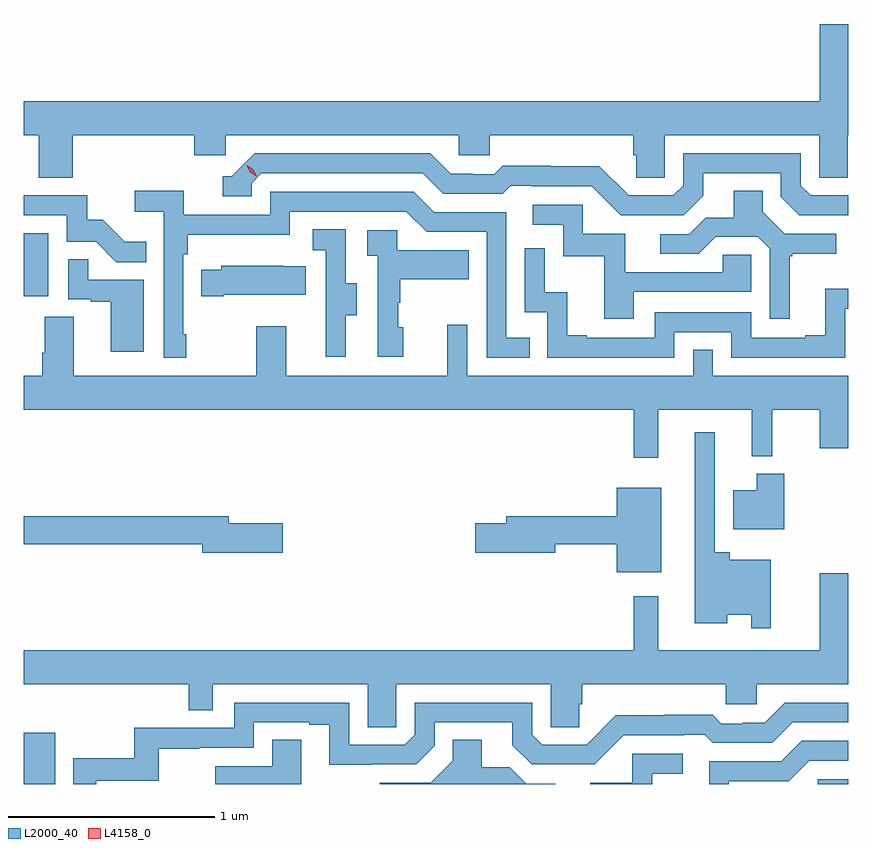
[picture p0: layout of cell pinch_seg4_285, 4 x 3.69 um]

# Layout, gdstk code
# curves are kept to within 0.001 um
import gdstk
lib = gdstk.Library(unit=1e-6, precision=1e-09)
def R(c, l, rs):  # rectangles x0, y0, x1, y1
    for r in rs: c.add(gdstk.rectangle(r[:2], r[2:], *l))
def P(c, l, *ps):  # polygons
    for p in ps: c.add(gdstk.Polygon(p, *l))
L2000_40 = (2000, 40)
L4158_0 = (4158, 0)

pinch_seg4_285 = lib.new_cell('pinch_seg4_285')
R(pinch_seg4_285, L2000_40, [(952.355,793.672,952.507,793.921), (956.208,793.672,956.355,793.695), (952.355,796.038,952.474,796.345)])
P(pinch_seg4_285, L2000_40, [(952.592,796.82),(953.183,796.82),(953.183,796.722),(953.334,796.722),(953.334,796.82),(954.465,796.82),(954.465,796.722),(954.615,796.722),(954.615,796.82),(955.313,796.82),(955.313,796.722),(955.327,796.722),(955.327,796.612),(955.464,796.612),(955.464,796.82),(956.214,796.82),(956.214,796.612),(956.353,796.612),(956.353,796.82),(956.355,796.82),(956.355,797.359),(956.216,797.359),(956.216,796.984),(952.355,796.984),(952.355,796.82),(952.427,796.82),(952.427,796.612),(952.592,796.612)],
  [(956.355,796.527),(956.172,796.527),(956.124,796.575),(956.124,796.731),(955.554,796.731),(955.554,796.575),(955.506,796.527),(955.29,796.527),(955.148,796.669),(954.912,796.669),(954.912,796.672),(954.679,796.672),(954.637,796.629),(954.534,796.629),(954.534,796.632),(954.427,796.632),(954.328,796.731),(953.475,796.731),(953.364,796.62),(953.321,796.62),(953.321,796.524),(953.46,796.524),(953.46,796.587),(953.508,796.635),(954.291,796.635),(954.39,796.536),(954.679,796.536),(954.718,796.575),(954.817,796.575),(954.817,796.572),(955.11,796.572),(955.251,796.431),(955.557,796.431),(955.651,796.525),(955.651,796.635),(956.028,796.635),(956.028,796.521),(956.118,796.431),(956.355,796.43)],
  [(953.143,795.853),(953.13,795.853),(953.13,796.241),(953.15,796.241),(953.15,796.337),(953.646,796.337),(953.646,796.449),(954.21,796.449),(954.309,796.35),(954.6,796.35),(954.6,795.741),(954.809,795.741),(954.809,795.837),(954.696,795.837),(954.696,796.446),(954.346,796.446),(954.247,796.545),(953.55,796.545),(953.55,796.434),(953.132,796.434),(953.132,796.55),(952.893,796.55),(952.893,796.448),(953.034,796.448),(953.034,795.741),(953.143,795.741)],
  [(956.071,796.233),(956.083,796.233),(956.083,796.244),(956.296,796.244),(956.296,796.341),(956.046,796.341),(955.939,796.448),(955.939,796.55),(955.799,796.55),(955.799,796.418),(955.664,796.418),(955.584,796.338),(955.443,796.338),(955.443,796.245),(955.63,796.245),(955.711,796.326),(955.917,796.326),(955.974,796.269),(955.974,795.93),(956.071,795.93)],
  [(952.949,796.303),(952.845,796.303),(952.738,796.41),(952.662,796.41),(952.662,796.527),(952.355,796.527),(952.355,796.431),(952.563,796.431),(952.563,796.302),(952.707,796.302),(952.805,796.204),(952.949,796.204)],
  [(955.315,796.059),(955.884,796.059),(955.884,796.239),(955.747,796.239),(955.747,796.155),(955.273,796.155),(955.273,796.341),(955.068,796.341),(955.068,796.482),(954.825,796.482),(954.825,796.386),(954.972,796.386),(954.972,796.233),(955.171,796.233),(955.171,795.93),(955.315,795.93)],
  [(953.917,795.946),(953.971,795.946),(953.971,796.101),(953.916,796.101),(953.916,796.364),(953.757,796.364),(953.757,796.261),(953.82,796.261),(953.82,795.957),(953.819,795.957),(953.819,795.744),(953.917,795.744)],
  [(954.196,795.888),(954.171,795.888),(954.171,796.007),(954.181,796.007),(954.181,796.121),(954.515,796.121),(954.515,796.261),(954.168,796.261),(954.168,796.359),(954.021,796.359),(954.021,796.235),(954.072,796.235),(954.072,795.744),(954.196,795.744)],
  [(955.512,795.864),(955.788,795.864),(955.788,795.741),(956.34,795.741),(956.34,795.977),(956.355,795.977),(956.355,796.075),(956.243,796.075),(956.243,795.85),(956.147,795.85),(956.147,795.837),(955.884,795.837),(955.884,795.96),(955.416,795.96),(955.416,795.837),(955.087,795.837),(955.087,795.85),(954.992,795.85),(954.992,796.058),(954.882,796.058),(954.882,796.27),(954.786,796.27),(954.786,795.96),(954.894,795.96),(954.894,795.741),(955.512,795.741)],
  [(952.936,796.119),(952.667,796.119),(952.667,796.217),(952.572,796.217),(952.572,796.023),(952.679,796.023),(952.679,796.011),(952.778,796.011),(952.778,795.768),(952.936,795.768)],
  [(953.326,796.046),(953.723,796.046),(953.723,796.183),(953.615,796.183),(953.615,796.186),(953.313,796.186),(953.313,796.168),(953.215,796.168),(953.215,796.039),(953.326,796.039)],
  [(955.433,795.488),(955.886,795.488),(955.886,795.263),(955.986,795.263),(955.986,795.488),(956.216,795.488),(956.216,795.3),(956.355,795.3),(956.355,795.652),(955.698,795.652),(955.698,795.779),(955.602,795.779),(955.602,795.652),(954.507,795.652),(954.507,795.901),(954.41,795.901),(954.41,795.652),(953.629,795.652),(953.629,795.892),(953.482,795.892),(953.482,795.652),(952.597,795.652),(952.597,795.938),(952.457,795.938),(952.457,795.764),(952.445,795.764),(952.445,795.652),(952.355,795.652),(952.355,795.488),(955.315,795.488),(955.315,795.255),(955.433,795.255)],
  [(955.98,794.761),(955.781,794.761),(955.781,794.797),(955.707,794.797),(955.707,795.379),(955.61,795.379),(955.61,794.453),(955.768,794.453),(955.768,794.492),(955.884,794.492),(955.884,794.427),(955.98,794.427)],
  [(956.045,795.178),(955.91,795.178),(955.91,795.097),(955.796,795.097),(955.796,794.909),(956.045,794.909)],
  [(955.447,795.109),(955.232,795.109),(955.232,794.972),(954.695,794.972),(954.695,794.936),(954.546,794.936),(954.546,794.794),(954.934,794.794),(954.934,794.836),(955.232,794.836),(955.232,794.699),(955.447,794.699)],
  [(953.611,794.936),(953.35,794.936),(953.35,794.972),(952.355,794.972),(952.355,794.836),(953.222,794.836),(953.222,794.794),(953.611,794.794)],
  [(954.162,794.156),(954.912,794.156),(954.912,793.948),(955.049,793.948),(955.049,794.058),(955.064,794.058),(955.064,794.156),(955.761,794.156),(955.761,794.058),(955.911,794.058),(955.911,794.156),(956.355,794.156),(956.355,794.695),(956.216,794.695),(956.216,794.32),(955.432,794.32),(955.432,794.584),(955.315,794.584),(955.315,794.32),(952.355,794.32),(952.355,794.156),(953.155,794.156),(953.155,794.029),(953.271,794.029),(953.271,794.156),(954.023,794.156),(954.023,793.948),(954.162,793.948)],
  [(952.706,793.688),(953.011,793.688),(953.011,793.843),(953.207,793.843),(953.207,793.848),(953.472,793.848),(953.472,793.971),(953.741,793.971),(953.741,793.959),(953.837,793.959),(953.837,793.766),(954.258,793.767),(954.348,793.857),(954.348,793.971),(954.725,793.971),(954.725,793.861),(954.819,793.767),(955.125,793.767),(955.266,793.908),(955.559,793.908),(955.559,793.911),(955.658,793.911),(955.697,793.872),(955.986,793.872),(956.085,793.971),(956.355,793.971),(956.355,794.067),(956.048,794.067),(955.949,793.968),(955.842,793.968),(955.842,793.965),(955.739,793.965),(955.697,794.008),(955.464,794.008),(955.464,794.005),(955.228,794.005),(955.086,793.863),(954.87,793.863),(954.822,793.911),(954.822,794.067),(954.252,794.067),(954.252,793.911),(954.204,793.863),(953.934,793.863),(953.934,794.067),(953.376,794.067),(953.376,793.944),(952.89,793.944),(952.89,793.798),(952.596,793.798),(952.596,793.672),(952.706,793.672)],
  [(954.934,793.674),(954.792,793.674),(954.712,793.754),(954.577,793.754),(954.577,793.886),(954.437,793.886),(954.437,793.784),(954.33,793.677),(954.081,793.677),(954.081,793.672),(954.934,793.672)],
  [(953.701,793.886),(953.561,793.886),(953.561,793.758),(953.284,793.758),(953.284,793.672),(953.701,793.672)],
  [(955.776,793.686),(956.067,793.686),(956.166,793.785),(956.355,793.785),(956.355,793.881),(956.129,793.881),(956.03,793.782),(955.68,793.782),(955.68,793.672),(955.776,793.672)],
  [(955.404,793.722),(955.552,793.722),(955.552,793.818),(955.308,793.818),(955.308,793.677),(955.103,793.677),(955.103,793.672),(955.404,793.672)])
P(pinch_seg4_285, L4158_0, [(953.484,796.621),(953.453,796.64),(953.436,796.672),(953.436,796.673),(953.437,796.673),(953.468,796.654),(953.484,796.622),(953.484,796.621)])

lib.write_gds('pinch_seg4_285.gds')
